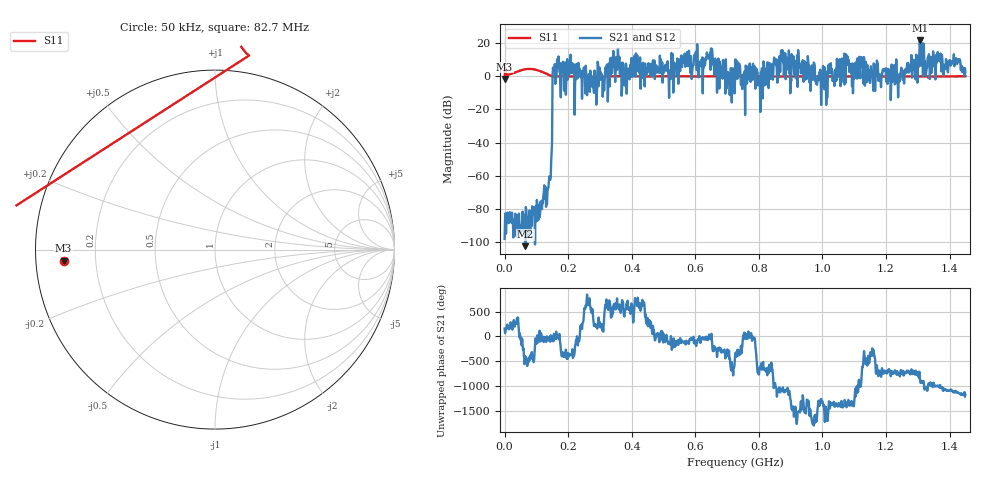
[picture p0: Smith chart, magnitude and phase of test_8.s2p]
! Created with skrf 1.11.0 (http://scikit-rf.org).
# Hz S RI R 50.0
!freq ReS11 ImS11 ReS21 ImS21 ReS12 ImS12 ReS22 ImS22
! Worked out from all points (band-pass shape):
!   1001 points, 50 kHz to 1.45 GHz, reference 50 ohm
!   highest |S21| = 21.78 dB at 1.306 GHz (marker M1); lowest = -102.8 dB at 65.3 MHz (marker M2)
!   |S21| within 3 dB of the highest: 606.0604 MHz to 606.2215 MHz (161 kHz wide, 0.0266 % of centre); 1.305868 GHz to 1.307385 GHz (1.517 MHz wide, 0.116 % of centre) (the widest 2 of 4)
!   lowest |S11| = -1.5 dB at 50 kHz (marker M3), VSWR 11.98, Z = 4.18 - j1.8 ohm
!   |S11| at or under -10 dB: nowhere
!   |S22| runs from - to - dB; largest |S21 - S12| = 0
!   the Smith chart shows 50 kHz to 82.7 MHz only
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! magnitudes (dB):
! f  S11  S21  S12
! 50 kHz  -1.5  -98.4  -98.4
! 65.3 MHz  4.3  -102.8  -102.8
! 137.8 MHz  1.0  -67.4  -67.4
! 142.1 MHz  0.6  -62.1  -62.1
! 158.1 MHz  0.0  7.5  7.5
! 242.2 MHz  0.1  3.4  3.4
! 284.2 MHz  0.0  2.3  2.3
! 339.3 MHz  0.1  8.6  8.6
! 371.2 MHz  0.1  8.4  8.4
! 484.3 MHz  0.1  4.7  4.7
! 524.9 MHz  0.1  14.2  14.2
! 646.7 MHz  0.1  14.5  14.5
! 707.6 MHz  0.0  -10.9  -10.9
! 725 MHz  0.1  -3.3  -3.3
! 804.8 MHz  0.0  -21.5  -21.5
! 875.8 MHz  0.0  8.7  8.7
! 967.2 MHz  0.0  6.6  6.6
! 1.011 GHz  0.0  2.9  2.9
! 1.082 GHz  0.0  10.2  10.2
! 1.209 GHz  0.0  0.1  0.1
! 1.306 GHz  0.0  21.8  21.8
! 1.45 GHz  0.1  2.4  2.4
